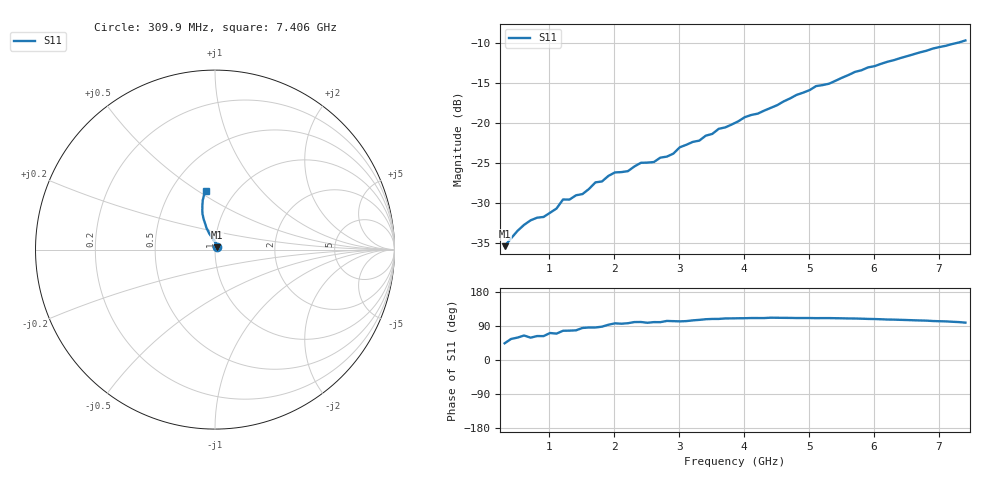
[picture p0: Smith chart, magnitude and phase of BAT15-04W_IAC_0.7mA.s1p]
! Infineon Technologies  Discrete & RF Semiconductors
! BAT15-04W-E6327
! IAC = 0.7 mA
! One-Port S-Parameters
# Hz  S  MA  R  50
!f  S11
!Hz  Mag  Ang
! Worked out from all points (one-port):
!   72 points, 309.9 MHz to 7.406 GHz, reference 50 ohm
!   lowest |S11| = -35.5 dB at 309.9 MHz (marker M1), VSWR 1.03, Z = 51.2 + j1.2 ohm
!   |S11| at or under -10 dB: start of sweep to 7.251 GHz
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3.0985e8  0.01688 44.0
6.097e8  0.02297 64.7
1.0095e9  0.02735 71.2
1.10945e9  0.02908 69.6
1.2094e9  0.03313 77.2
1.30935e9  0.03309 77.5
1.4093e9  0.0352 78.3
1.50925e9  0.03583 84.6
1.70915e9  0.04243 85.8
1.8091e9  0.04299 88.0
2.009e9  0.04898 96.7
2.10895e9  0.0492 95.7
2.2089e9  0.04989 97.1
2.4088e9  0.05628 100.3
2.6087e9  0.05691 100.0
2.70865e9  0.06063 99.9
2.8086e9  0.06156 103.1
2.90855e9  0.06427 102.5
3.0085e9  0.07045 102.0
3.30835e9  0.07754 105.9
3.6082e9  0.092 108.4
3.90805e9  0.1024 110.1
4.8076e9  0.1502 110.7
5.10745e9  0.1705 110.5
5.30735e9  0.1764 110.6
5.70715e9  0.2093 109.5
6.6067e9  0.2698 104.8
7.4063e9  0.3295 98.6
